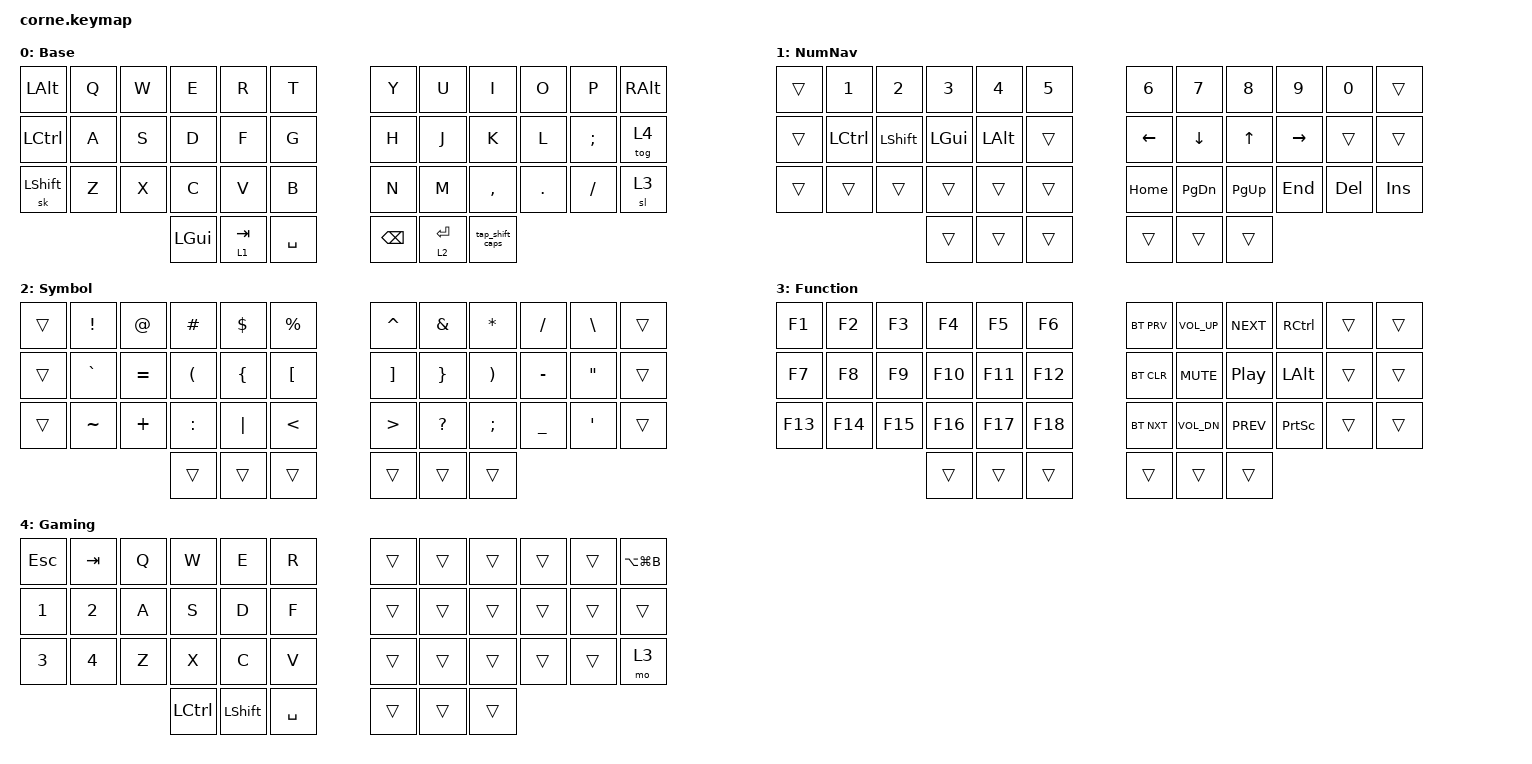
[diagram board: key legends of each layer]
/*
 * Copyright (c) 2020 The ZMK Contributors
 *
 * SPDX-License-Identifier: MIT
 */

#include <behaviors.dtsi>
#include <dt-bindings/zmk/bt.h>
#include <dt-bindings/zmk/keys.h>

&lt {
    tapping-term-ms = <135>;
    flavor = "hold-preferred";
};

/ {
    combos {
        compatible = "zmk,combos";

        jkForEscape {
            bindings = <&kp ESCAPE>;
            key-positions = <19 20>;
        };
    };

    behaviors {
        mt_alt_space: mod_tap_alt_space {
            compatible = "zmk,behavior-hold-tap";
            label = "MOD_TAP_ALT_SPACE";
            #binding-cells = <2>;
            tapping-term-ms = <100>;
            flavor = "tap-preferred";
            bindings = <&kp>, <&kp>;
        };

        tap_shift_caps: tap_shift_caps {
            compatible = "zmk,behavior-tap-dance";
            label = "TAP_SHIFT_CAPS";
            #binding-cells = <0>;
            bindings = <&sk RIGHT_SHIFT>, <&caps_word>;
        };
    };

    macros {
        highlight_left: highlight_left {
            compatible = "zmk,behavior-macro";
            #binding-cells = <0>;
            bindings = <&kp LS(LA(LEFT))>;
            label = "HIGHLIGHT_LEFT";
        };

        highlight_right: highlight_right {
            compatible = "zmk,behavior-macro";
            #binding-cells = <0>;
            bindings = <&kp LS(LA(RIGHT))>;
            label = "HIGHLIGHT_RIGHT";
        };

        highlight_up: highlight_up {
            compatible = "zmk,behavior-macro";
            #binding-cells = <0>;
            bindings = <&kp LS(LA(UP_ARROW))>;
            label = "HIGHLIGHT_UP";
        };

        highlight_down: highlight_down {
            compatible = "zmk,behavior-macro";
            #binding-cells = <0>;
            bindings = <&kp LS(LA(DOWN_ARROW))>;
            label = "HIGHLIGHT_DOWN";
        };
    };

    keymap {
        compatible = "zmk,keymap";

        default_layer {
            // -----------------------------------------------------------------------------------------
            // |  TAB |  Q  |  W  |  E  |  R  |  T  |   |  Y  |  U   |  I  |  O  |  P  | BKSP |
            // | CTRL |  A  |  S  |  D  |  F  |  G  |   |  H  |  J   |  K  |  L  |  ;  |  '   |
            // | SHFT |  Z  |  X  |  C  |  V  |  B  |   |  N  |  M   |  ,  |  .  |  /  | ESC  |
            //                    | GUI | LWR | SPC |   | ENT | RSE  | ALT |

            display-name = "Base";
            bindings = <
&kp LEFT_ALT    &kp Q  &kp W  &kp E     &kp R      &kp T        &kp Y          &kp U        &kp I            &kp O    &kp P     &kp RIGHT_ALT
&kp LCTRL       &kp A  &kp S  &kp D     &kp F      &kp G        &kp H          &kp J        &kp K            &kp L    &kp SEMI  &tog 4
&sk LEFT_SHIFT  &kp Z  &kp X  &kp C     &kp V      &kp B        &kp N          &kp M        &kp COMMA        &kp DOT  &kp FSLH  &sl 3
                              &kp LGUI  &lt 1 TAB  &kp SPACE    &kp BACKSPACE  &lt 2 ENTER  &tap_shift_caps
            >;
        };

        number_layer {
            // -----------------------------------------------------------------------------------------
            // |  TAB |  1  |  2  |  3  |  4  |  5  |   |  6  |  7  |  8  |  9  |  0  | BKSP |
            // | BTCLR| BT1 | BT2 | BT3 | BT4 | BT5 |   | LFT | DWN |  UP | RGT |     |      |
            // | SHFT |     |     |     |     |     |   |     |     |     |     |     |      |
            //                    | GUI |     | SPC |   | ENT |     | ALT |

            display-name = "NumNav";
            bindings = <
&trans  &kp NUMBER_1  &kp N2          &kp N3    &kp N4        &kp N5    &kp N6    &kp N7         &kp N8       &kp N9     &kp N0      &trans
&trans  &kp LCTRL     &kp LEFT_SHIFT  &kp LGUI  &kp LEFT_ALT  &trans    &kp LEFT  &kp DOWN       &kp UP       &kp RIGHT  &trans      &trans
&trans  &trans        &trans          &trans    &trans        &trans    &kp HOME  &kp PAGE_DOWN  &kp PAGE_UP  &kp END    &kp DELETE  &kp INSERT
                                      &trans    &trans        &trans    &trans    &trans         &trans
            >;
        };

        symbol_layer {
            // -----------------------------------------------------------------------------------------
            // |  TAB |  !  |  @  |  #  |  $  |  %  |   |  ^  |  &  |  *  |  (  |  )  | BKSP |
            // | CTRL |     |     |     |     |     |   |  -  |  =  |  [  |  ]  |  \  |  `   |
            // | SHFT |     |     |     |     |     |   |  _  |  +  |  {  |  }  | "|" |  ~   |
            //                    | GUI |     | SPC |   | ENT |     | ALT |

            display-name = "Symbol";
            bindings = <
&trans  &kp EXCLAMATION  &kp AT     &kp HASH              &kp DOLLAR      &kp PERCENT         &kp CARET          &kp AMPS         &kp ASTRK              &kp SLASH       &kp BACKSLASH      &trans
&trans  &kp GRAVE        &kp EQUAL  &kp LEFT_PARENTHESIS  &kp LEFT_BRACE  &kp LEFT_BRACKET    &kp RIGHT_BRACKET  &kp RIGHT_BRACE  &kp RIGHT_PARENTHESIS  &kp MINUS       &kp DOUBLE_QUOTES  &trans
&trans  &kp TILDE        &kp PLUS   &kp COLON             &kp PIPE        &kp LESS_THAN       &kp GREATER_THAN   &kp QUESTION     &kp SEMI               &kp UNDERSCORE  &kp SINGLE_QUOTE   &trans
                                    &trans                &trans          &trans              &trans             &trans           &trans
            >;
        };

        function_layer {
            display-name = "Function";
            bindings = <
&kp F1   &kp F2   &kp F3   &kp F4   &kp F5   &kp F6     &bt BT_PRV  &kp C_VOLUME_UP  &kp C_NEXT  &kp RCTRL        &trans  &trans
&kp F7   &kp F8   &kp F9   &kp F10  &kp F11  &kp F12    &bt BT_CLR  &kp K_MUTE       &kp C_PP    &kp LEFT_ALT     &trans  &trans
&kp F13  &kp F14  &kp F15  &kp F16  &kp F17  &kp F18    &bt BT_NXT  &kp C_VOL_DN     &kp C_PREV  &kp PRINTSCREEN  &trans  &trans
                           &trans   &trans   &trans     &trans      &trans           &trans
            >;
        };

        gaming_layer {
            display-name = "Gaming";
            bindings = <
&kp ESCAPE    &kp TAB       &kp Q  &kp W      &kp E      &kp R        &trans  &trans  &trans  &trans  &trans  &kp LA(LG(B))
&kp NUMBER_1  &kp N2        &kp A  &kp S      &kp D      &kp F        &trans  &trans  &trans  &trans  &trans  &trans
&kp NUMBER_3  &kp NUMBER_4  &kp Z  &kp X      &kp C      &kp V        &trans  &trans  &trans  &trans  &trans  &mo 3
                                   &kp LCTRL  &kp LSHFT  &kp SPACE    &trans  &trans  &trans
            >;
        };

        extra_1 { status = "reserved"; };

        extra_2 { status = "reserved"; };

        extra_3 { status = "reserved"; };
    };
};
